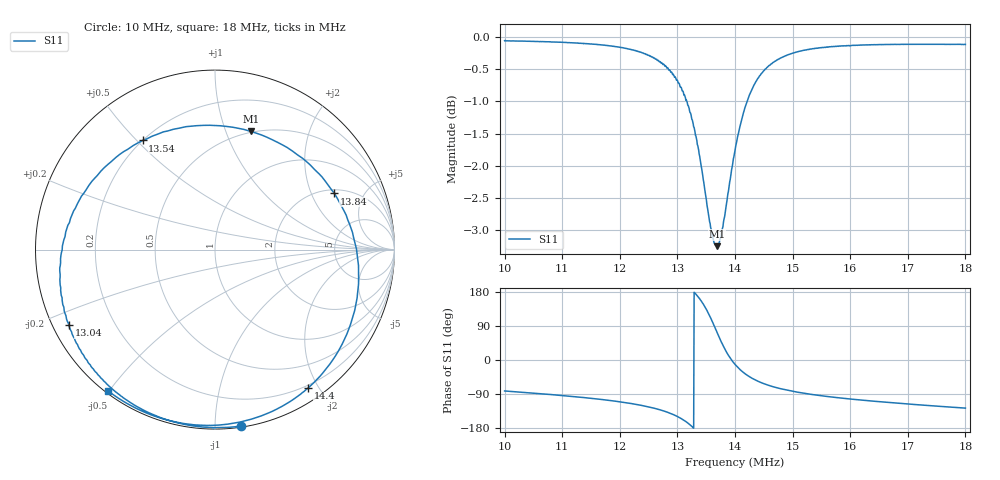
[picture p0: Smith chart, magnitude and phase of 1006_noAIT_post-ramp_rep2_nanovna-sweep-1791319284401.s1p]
! NanoVNA Web complex sweep
! Processing: unaveraged complex samples; linear segment spacing; no smoothing
# Hz S RI R 50
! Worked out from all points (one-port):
!   1010 points, 10 MHz to 18 MHz, reference 50 ohm
!   lowest |S11| = -3.3 dB at 13.69 MHz (marker M1), VSWR 5.40, Z = 24.5 + j61.3 ohm
!   |S11| at or under -10 dB: nowhere
!   S11 on the Smith chart (normalised r, x): 10 MHz: 0.01, -1.16; 13.04 MHz: 0.05, -0.24; 13.54 MHz: 0.20, +0.52; 13.84 MHz: 2.19, +2.98; 14.4 MHz: 0.16, -1.86; 18 MHz: 0.01, -0.50
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1e7  0.1434 -0.9835
1.100698e7  -0.0664 -0.989
1.200604e7  -0.3428 -0.9203
1.233113e7  -0.4642 -0.8571
1.260071e7  -0.5849 -0.7655
1.283065e7  -0.704 -0.6329
1.300509e7  -0.7968 -0.469
1.304474e7  -0.8136 -0.4208
1.321917e7  -0.8627 -0.1381
1.333811e7  -0.8197 0.1357
1.344119e7  -0.6714 0.3965
1.353633e7  -0.4032 0.608
1.361562e7  -0.1032 0.6903
1.368698e7  0.1993 0.658
1.376628e7  0.4877 0.5088
1.383764e7  0.6652 0.3129
1.391693e7  0.7718 0.0688
1.400414e7  0.7997 -0.1726
1.409929e7  0.7641 -0.389
1.418651e7  0.7014 -0.5398
1.428959e7  0.6139 -0.6718
1.44006e7  0.5174 -0.772
1.465432e7  0.3238 -0.8988
1.50032e7  0.1243 -0.964
1.543929e7  -0.0541 -0.979
1.600225e7  -0.22 -0.9601
1.700131e7  -0.4341 -0.8869
1.800036e7  -0.5938 -0.7888
